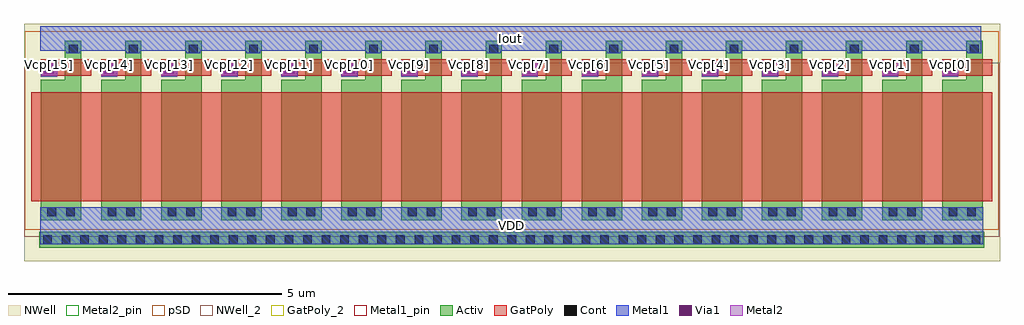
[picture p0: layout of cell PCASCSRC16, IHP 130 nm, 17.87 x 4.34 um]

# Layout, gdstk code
import gdstk
lib = gdstk.Library(unit=1e-6, precision=1e-09)
def R(c, l, rs):  # rectangles x0, y0, x1, y1
    for r in rs: c.add(gdstk.rectangle(r[:2], r[2:], *l))
def A(c, l, x, y, w, h, nx, ny, dx, dy):  # array of equal rectangles
    R(c, l, [(x+i*dx, y+j*dy, x+i*dx+w, y+j*dy+h) for i in range(nx) for j in range(ny)])
Activ = (1, 0)
GatPoly = (5, 0)
GatPoly_2 = (5, 2)
Cont = (6, 0)
Metal1 = (8, 0)
Metal1_pin = (8, 2)
Metal2 = (10, 0)
Metal2_pin = (10, 2)
pSD = (14, 0)
Via1 = (19, 0)
NWell = (31, 0)
NWell_2 = (31, 2)

switchedpmoscascode = lib.new_cell('SwitchedPMOSCascode')
R(switchedpmoscascode, Activ, [(0.29,-0.38,0.59,0.49)])
R(switchedpmoscascode, GatPoly, [(-0.15,-0.15,0.77,0.15)])
R(switchedpmoscascode, Cont, [(-0.08,-0.08,0.08,0.08), (0.36,0.26,0.52,0.42)])
R(switchedpmoscascode, Metal1, [(-0.08,-0.13,0.08,0.13), (0.31,0.26,0.57,0.42)])
R(switchedpmoscascode, pSD, [(-0.01,-0.56,0.89,0.67)])
R(switchedpmoscascode, NWell, [(-0.03,-0.79,0.91,0.8)])

via_stack_1 = lib.new_cell('via_stack$1')
R(via_stack_1, Metal1, [(-0.145,-0.145,0.145,0.145)])
R(via_stack_1, Metal2, [(-0.145,-0.145,0.145,0.145)])
R(via_stack_1, Via1, [(-0.095,-0.095,0.095,0.095)])

pcascsrc = lib.new_cell('PCASCSRC')
R(pcascsrc, Activ, [(-0.15,-2.79,0.59,-0.22)])
R(pcascsrc, GatPoly, [(-0.33,-2.45,0.77,-0.45)])
R(pcascsrc, GatPoly_2, [(-0.33,-2.45,0.77,-0.45)])
R(pcascsrc, Cont, [(-0.03,-2.72,0.13,-2.56), (0.31,-2.72,0.47,-2.56)])
R(pcascsrc, Metal1, [(-0.08,-2.72,0.52,-2.56), (-0.15,-0.17,0.15,0.13)])
R(pcascsrc, Metal1_pin, [(-0.08,-2.72,0.52,-2.56), (0.31,0.26,0.57,0.42)])
R(pcascsrc, Metal2_pin, [(-0.145,-0.16,0.145,0.13)])
R(pcascsrc, pSD, [(-0.45,-2.97,0.89,-0.04)])
R(pcascsrc, NWell, [(-0.46,-3.1,0.9,0.09)])
R(pcascsrc, NWell_2, [(-0.46,-3.1,0.9,0.09)])
pcascsrc.add(gdstk.Reference(switchedpmoscascode, (0,0)))
pcascsrc.add(gdstk.Reference(via_stack_1, (0,-0.015)))
pcascsrc.add(gdstk.Label('VDD', (0.22,-2.64), layer=8, texttype=2))
pcascsrc.add(gdstk.Label('VcascodeP', (0,0), layer=8, texttype=2))
pcascsrc.add(gdstk.Label('Iout', (0.44,0.34), layer=8, texttype=2))
pcascsrc.add(gdstk.Label('VcascodeP', (0,-0.015), layer=10, texttype=2))
pcascsrc.add(gdstk.Label('VbiasP', (0.22,-1.45), layer=5, texttype=2))
pcascsrc.add(gdstk.Label('NWELL', (0.22,-1.505), layer=31, texttype=2))

pcascsrc16 = lib.new_cell('PCASCSRC16')
R(pcascsrc16, Activ, [(-0.18,-3.3,17.12,-3), (-0.11,-3.23,0.05,-3.07)])
A(pcascsrc16, Cont, -0.11, -3.23, 0.16, 0.16, 51, 1, 0.34, 0)
R(pcascsrc16, Metal1, [(-0.16,-3.23,17.1,-2.56), (-0.16,0.31,17.07,0.76)])
R(pcascsrc16, Metal1_pin, [(-0.16,-3.23,17.1,-2.56), (-0.16,0.31,17.07,0.76)])
A(pcascsrc16, Metal2_pin, -0.145, -0.16, 0.29, 0.29, 16, 1, 1.1, 0)
R(pcascsrc16, pSD, [(-0.45,-0.56,17.39,0.67)])
R(pcascsrc16, NWell, [(-0.46,-3.54,17.41,0.8)])
r = gdstk.Reference(pcascsrc, (0,0)); r.repetition = gdstk.Repetition(16, 1, v1=(1.1,0), v2=(0,0)); pcascsrc16.add(r)
pcascsrc16.add(gdstk.Label('Iout', (8.455,0.535), layer=8, texttype=2))
pcascsrc16.add(gdstk.Label('VDD', (8.47,-2.895), layer=8, texttype=2))
pcascsrc16.add(gdstk.Label('Vcp[15]', (0,0.06), layer=10, texttype=2))
pcascsrc16.add(gdstk.Label('Vcp[14]', (1.1,0.06), layer=10, texttype=2))
pcascsrc16.add(gdstk.Label('Vcp[13]', (2.2,0.06), layer=10, texttype=2))
pcascsrc16.add(gdstk.Label('Vcp[12]', (3.3,0.06), layer=10, texttype=2))
pcascsrc16.add(gdstk.Label('Vcp[11]', (4.4,0.06), layer=10, texttype=2))
pcascsrc16.add(gdstk.Label('Vcp[10]', (5.5,0.06), layer=10, texttype=2))
pcascsrc16.add(gdstk.Label('Vcp[9]', (6.6,0.06), layer=10, texttype=2))
pcascsrc16.add(gdstk.Label('Vcp[8]', (7.7,0.06), layer=10, texttype=2))
pcascsrc16.add(gdstk.Label('Vcp[7]', (8.8,0.06), layer=10, texttype=2))
pcascsrc16.add(gdstk.Label('Vcp[6]', (9.9,0.06), layer=10, texttype=2))
pcascsrc16.add(gdstk.Label('Vcp[5]', (11,0.06), layer=10, texttype=2))
pcascsrc16.add(gdstk.Label('Vcp[4]', (12.1,0.06), layer=10, texttype=2))
pcascsrc16.add(gdstk.Label('Vcp[3]', (13.2,0.06), layer=10, texttype=2))
pcascsrc16.add(gdstk.Label('Vcp[2]', (14.3,0.06), layer=10, texttype=2))
pcascsrc16.add(gdstk.Label('Vcp[1]', (15.4,0.06), layer=10, texttype=2))
pcascsrc16.add(gdstk.Label('Vcp[0]', (16.5,0.06), layer=10, texttype=2))
pcascsrc16.add(gdstk.Label('VDD', (8.47,-2.895), layer=8, texttype=1))

lib.write_gds('PCASCSRC16.gds')
